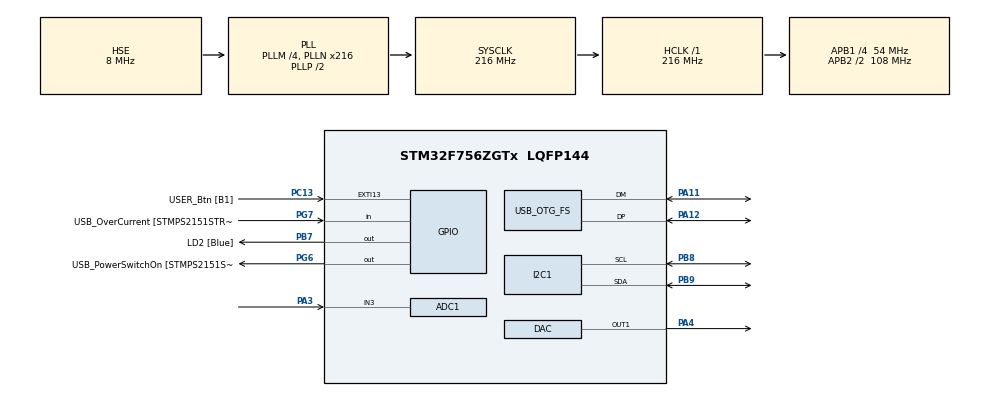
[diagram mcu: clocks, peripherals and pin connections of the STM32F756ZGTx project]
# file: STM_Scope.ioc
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ADC1.Channel-0\#ChannelRegularConversion=ADC_CHANNEL_3
ADC1.ClockPrescaler=ADC_CLOCK_SYNC_PCLK_DIV8
ADC1.ContinuousConvMode=DISABLE
ADC1.DMAContinuousRequests=ENABLE
ADC1.DataAlign=ADC_DATAALIGN_RIGHT
ADC1.ExternalTrigConv=ADC_EXTERNALTRIGCONV_T1_TRGO
ADC1.InjNumberOfConversion=0
ADC1.NbrOfConversion=1
ADC1.NbrOfConversionFlag=1
ADC1.Rank-0\#ChannelRegularConversion=1
ADC1.SamplingTime-0\#ChannelRegularConversion=ADC_SAMPLETIME_480CYCLES
ADC1.ScanConvMode=ADC_SCAN_DISABLE
ADC1.master=1
DAC.DAC_Trigger=DAC_TRIGGER_T6_TRGO
Dma.ADC1.0.Direction=DMA_PERIPH_TO_MEMORY
Dma.ADC1.0.FIFOMode=DMA_FIFOMODE_DISABLE
Dma.ADC1.0.Instance=DMA2_Stream0
Dma.ADC1.0.MemDataAlignment=DMA_MDATAALIGN_HALFWORD
Dma.ADC1.0.MemInc=DMA_MINC_ENABLE
Dma.ADC1.0.Mode=DMA_CIRCULAR
Dma.ADC1.0.PeriphDataAlignment=DMA_PDATAALIGN_HALFWORD
Dma.ADC1.0.PeriphInc=DMA_PINC_DISABLE
Dma.ADC1.0.Priority=DMA_PRIORITY_HIGH
Dma.DAC1.1.Direction=DMA_MEMORY_TO_PERIPH
Dma.DAC1.1.FIFOMode=DMA_FIFOMODE_DISABLE
Dma.DAC1.1.Instance=DMA1_Stream5
Dma.DAC1.1.MemDataAlignment=DMA_MDATAALIGN_HALFWORD
Dma.DAC1.1.MemInc=DMA_MINC_ENABLE
Dma.DAC1.1.Mode=DMA_CIRCULAR
Dma.DAC1.1.PeriphDataAlignment=DMA_PDATAALIGN_HALFWORD
Dma.DAC1.1.PeriphInc=DMA_PINC_DISABLE
Dma.DAC1.1.Priority=DMA_PRIORITY_LOW
Dma.Request0=ADC1
Dma.Request1=DAC1
I2C1.Timing=0x20404768
Mcu.Family=STM32F7
Mcu.Name=STM32F756ZGTx
Mcu.Package=LQFP144
NVIC.DMA1_Stream5_IRQn=true\:0\:0\:false\:false\:true\:false\:true\:true
NVIC.DMA2_Stream0_IRQn=true\:0\:0\:false\:false\:true\:false\:true\:true
NVIC.OTG_FS_IRQn=true\:5\:0\:true\:false\:true\:true\:true\:true
NVIC.PriorityGroup=NVIC_PRIORITYGROUP_4
NVIC.TIM6_DAC_IRQn=true\:6\:0\:true\:false\:true\:true\:true\:true
PA11.Mode=Device_Only
PA11.Signal=USB_OTG_FS_DM
PA12.Mode=Device_Only
PA12.Signal=USB_OTG_FS_DP
PA13.GPIO_Label=TMS
PA13.Mode=Serial_Wire
PA13.Signal=SYS_JTMS-SWDIO
PA14.GPIO_Label=TCK
PA14.Mode=Serial_Wire
PA14.Signal=SYS_JTCK-SWCLK
PA3.Signal=ADCx_IN3
PA4.Signal=COMP_DAC1_group
PB7.GPIO_Label=LD2 [Blue]
PB7.Signal=GPIO_Output
PB8.Mode=I2C
PB8.Signal=I2C1_SCL
PB9.Mode=I2C
PB9.Signal=I2C1_SDA
PC13.GPIO_Label=USER_Btn [B1]
PC13.Signal=GPXTI13
PC14/OSC32_IN.Mode=LSE-External-Oscillator
PC14/OSC32_IN.Signal=RCC_OSC32_IN
PC15/OSC32_OUT.Mode=LSE-External-Oscillator
PC15/OSC32_OUT.Signal=RCC_OSC32_OUT
PG6.GPIO_Label=USB_PowerSwitchOn [STMPS2151STR_EN]
PG6.Signal=GPIO_Output
PG7.GPIO_Label=USB_OverCurrent [STMPS2151STR_FAULT]
PG7.Signal=GPIO_Input
PH0/OSC_IN.GPIO_Label=MCO [STM32F103CBT6_PA8]
PH0/OSC_IN.Mode=HSE-External-Clock-Source
PH0/OSC_IN.Signal=RCC_OSC_IN
PH1/OSC_OUT.Mode=HSE-External-Clock-Source
PH1/OSC_OUT.Signal=RCC_OSC_OUT
ProjectManager.HeapSize=0x200
ProjectManager.StackSize=0x400
ProjectManager.TargetToolchain=STM32CubeIDE
RCC.48MHZClocksFreq_Value=24000000
RCC.AHBFreq_Value=216000000
RCC.APB1CLKDivider=RCC_HCLK_DIV4
RCC.APB1Freq_Value=54000000
RCC.APB1TimFreq_Value=108000000
RCC.APB2CLKDivider=RCC_HCLK_DIV2
RCC.APB2Freq_Value=108000000
RCC.APB2TimFreq_Value=216000000
RCC.CortexFreq_Value=216000000
RCC.HCLKFreq_Value=216000000
RCC.HSE_VALUE=8000000
RCC.HSI_VALUE=16000000
RCC.PLLM=4
RCC.PLLMUL=RCC_PLL_MUL9
RCC.PLLN=216
RCC.PLLQ=9
RCC.PRESCALERUSB=RCC_USBCLKSOURCE_PLL_DIV1_5
RCC.SYSCLKFreq_VALUE=216000000
RCC.SYSCLKSource=RCC_SYSCLKSOURCE_PLLCLK
RCC.SYSCLKSourceVirtual=RCC_SYSCLKSOURCE_PLLCLK
RCC.USBFreq_Value=48000000
RCC.VCOOutputFreq_Value=432000000
SH.ADCx_IN3.0=ADC1_IN3,IN3
SH.COMP_DAC1_group.0=DAC_OUT1,DAC_OUT1
TIM1.Period=19
TIM1.Prescaler=107
TIM1.TIM_MasterOutputTrigger=TIM_TRGO_UPDATE
TIM6.Period=999
TIM6.Prescaler=107
TIM6.TIM_MasterOutputTrigger=TIM_TRGO_UPDATE
USB_DEVICE.APP_RX_DATA_SIZE-CDC_FS=512
USB_DEVICE.APP_TX_DATA_SIZE-CDC_FS=512
USB_DEVICE.CLASS_NAME_FS=CDC
USB_DEVICE.VirtualMode-CDC_FS=Cdc
USB_DEVICE.VirtualModeFS=Cdc_FS
USB_OTG_FS.VirtualMode=Device_Only
VP_TIM1_VS_ClockSourceINT.Mode=Internal
VP_TIM6_VS_ClockSourceINT.Mode=Enable_Timer
VP_USB_DEVICE_VS_USB_DEVICE_CDC_FS.Mode=CDC_FS
board=NUCLEO-F756ZG

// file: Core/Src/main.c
/* USER CODE BEGIN Header */
/**
  ******************************************************************************
  * @file           : main.c
  * @brief          : Main program body
  ******************************************************************************
  * @attention
  *
  * Copyright (c) 2026 STMicroelectronics.
  * All rights reserved.
  *
  * This software is licensed under terms that can be found in the LICENSE file
  * in the root directory of this software component.
  * If no LICENSE file comes with this software, it is provided AS-IS.
  *
  ******************************************************************************
  */
/* USER CODE END Header */
#include "main.h"
#include "usb_device.h"

/* USER CODE BEGIN Includes */
#include <string.h>
#include <stdio.h>
#include <math.h>
/* USER CODE END Includes */

/* USER CODE BEGIN PTD */
typedef struct
{
	uint16_t *lut;
	uint32_t phase_step;
	float scale;
}DDS;

typedef struct
{
	uint32_t buff_size;
	uint32_t freq;
}Measure_cfg;

typedef enum
{
	MODE_SCOPE,
	MODE_TRIGGER
}Measure_mode;
typedef enum
{
	MEAS_IDLE,
	MEAS_RUNNING,
	MEAS_SENDING,
	MEAS_DONE

}Measure_state;
/* USER CODE END PTD */

/* USER CODE BEGIN PM */
#define ADC_BUF_MAX_LEN 4096U
#define SCOPE_BUF_LEN 256U
#define LUT_SIZE 256U
#define DAC_MAX 4095U
#define DAC_F_REF 100000U
#define TIM_CLOCK 108000000U
#define TIM_PRESCALE 107U
/* USER CODE END PM */

ADC_HandleTypeDef hadc1;
DMA_HandleTypeDef hdma_adc1;

DAC_HandleTypeDef hdac;
DMA_HandleTypeDef hdma_dac1;

I2C_HandleTypeDef hi2c1;

TIM_HandleTypeDef htim1;
TIM_HandleTypeDef htim6;

/* USER CODE BEGIN PV */
Measure_mode measure_mode = MODE_SCOPE;
Measure_state measure_state = MEAS_IDLE;

uint16_t adcBuf[ADC_BUF_MAX_LEN];

uint16_t lut_sine[256];
uint16_t lut_tri[256];
uint32_t phase_acc = 0;

DDS dds =
{
	.lut = lut_sine,
	.phase_step = 0,
	.scale = 1
};

Measure_cfg measure_cfg =
{
	.buff_size = 256,
	.freq = 1000
};
uint32_t TxIndex = 0;

volatile uint8_t halfReady = 0;
volatile uint8_t fullReady = 0;
volatile uint8_t usbBusy = 0;
volatile uint8_t configPending = 0;
volatile uint8_t trigger = 0;
volatile uint8_t toTrigger = 0;
volatile uint8_t toScope = 0;
/* USER CODE END PV */

void SystemClock_Config(void);
static void MX_GPIO_Init(void);
static void MX_DMA_Init(void);
static void MX_I2C1_Init(void);
static void MX_ADC1_Init(void);
static void MX_TIM1_Init(void);
static void MX_DAC_Init(void);
static void MX_TIM6_Init(void);
/* USER CODE BEGIN PFP */
uint8_t CDC_Transmit_FS(uint8_t* data, uint16_t len);
void Fill_LUT();
void DDS_GetTuningWord(uint16_t Hz);
void ADC_DMA_SetMode(uint32_t mode);
void CalculateTimArr(uint32_t fs);
void SwitchToScopeMode(void);
void SwitchToTriggerMode(void);
void UpdateConfig(void);
void Trigger_Start(void);
void Trigger_SendData(void);
/* USER CODE END PFP */

int main(void)
{

  /* MCU Configuration--------------------------------------------------------*/

  /* Reset of all peripherals, Initializes the Flash interface and the Systick. */
  HAL_Init();

  /* Configure the system clock */
  SystemClock_Config();

  /* Initialize all configured peripherals */
  MX_GPIO_Init();
  MX_DMA_Init();
  MX_I2C1_Init();
  MX_ADC1_Init();
  MX_TIM1_Init();
  MX_DAC_Init();
  MX_TIM6_Init();
  MX_USB_DEVICE_Init();
  /* USER CODE BEGIN 2 */
  Fill_LUT();
  DDS_GetTuningWord(1000);
  HAL_TIM_Base_Start(&htim1);
  HAL_TIM_Base_Start(&htim6);
  HAL_ADC_Start_DMA(&hadc1,(uint32_t*)adcBuf,SCOPE_BUF_LEN);
  HAL_DAC_Start_DMA(&hdac, DAC_CHANNEL_1, (uint32_t*)lut_sine, 256, DAC_ALIGN_12B_R);
  /* USER CODE END 2 */

  /* Infinite loop */
  /* USER CODE BEGIN WHILE */
  while (1)
  {
	  if(toScope)
	  {
		  if(measure_mode != MODE_SCOPE)
		  {
			  SwitchToScopeMode();
		  }
		  toScope = 0;
	  }
	  if(toTrigger)
	  {
		  if(measure_mode != MODE_TRIGGER)
		  {
			  SwitchToTriggerMode();
		  }

		  toTrigger = 0;
	  }
	  if(configPending)
	  {
		  if(measure_mode == MODE_TRIGGER)
		  {
		  UpdateConfig();
		  }
		  configPending = 0;
	  }
	  if(measure_mode == MODE_SCOPE){

		  if (halfReady && !usbBusy)
		  {
			  if (CDC_Transmit_FS((uint8_t*)&adcBuf[0], (SCOPE_BUF_LEN / 2) * sizeof(uint16_t)) == USBD_OK)
			  {
				  halfReady = 0;
				  usbBusy = 1;
			  }
		  }

		  if (fullReady && !usbBusy)
		  {
			  if (CDC_Transmit_FS((uint8_t*)&adcBuf[SCOPE_BUF_LEN / 2], (SCOPE_BUF_LEN / 2) * sizeof(uint16_t)) == USBD_OK)
			  {
				  fullReady = 0;
				  usbBusy = 1;
			  }
		  }
	  }
	  else
	  {
		  if (trigger)
		      {
		          trigger = 0;
		          Trigger_Start();
		      }

		      if (fullReady)
		      {
		          TxIndex = 0;
		          measure_state = MEAS_SENDING;
		          fullReady = 0;
		      }

		      if (measure_state == MEAS_SENDING)
		      {
		          Trigger_SendData();
		      }
	  }

    /* USER CODE END WHILE */

  }
}

void SystemClock_Config(void)
{
  RCC_OscInitTypeDef RCC_OscInitStruct = {0};
  RCC_ClkInitTypeDef RCC_ClkInitStruct = {0};

  /** Configure LSE Drive Capability
  */
  HAL_PWR_EnableBkUpAccess();

  /** Configure the main internal regulator output voltage
  */
  __HAL_RCC_PWR_CLK_ENABLE();
  __HAL_PWR_VOLTAGESCALING_CONFIG(PWR_REGULATOR_VOLTAGE_SCALE1);

  /** Initializes the RCC Oscillators according to the specified parameters
  * in the RCC_OscInitTypeDef structure.
  */
  RCC_OscInitStruct.OscillatorType = RCC_OSCILLATORTYPE_HSE;
  RCC_OscInitStruct.HSEState = RCC_HSE_BYPASS;
  RCC_OscInitStruct.PLL.PLLState = RCC_PLL_ON;
  RCC_OscInitStruct.PLL.PLLSource = RCC_PLLSOURCE_HSE;
  RCC_OscInitStruct.PLL.PLLM = 4;
  RCC_OscInitStruct.PLL.PLLN = 216;
  RCC_OscInitStruct.PLL.PLLP = RCC_PLLP_DIV2;
  RCC_OscInitStruct.PLL.PLLQ = 9;
  if (HAL_RCC_OscConfig(&RCC_OscInitStruct) != HAL_OK)
  {
    Error_Handler();
  }

  /** Activate the Over-Drive mode
  */
  if (HAL_PWREx_EnableOverDrive() != HAL_OK)
  {
    Error_Handler();
  }

  /** Initializes the CPU, AHB and APB buses clocks
  */
  RCC_ClkInitStruct.ClockType = RCC_CLOCKTYPE_HCLK|RCC_CLOCKTYPE_SYSCLK
                              |RCC_CLOCKTYPE_PCLK1|RCC_CLOCKTYPE_PCLK2;
  RCC_ClkInitStruct.SYSCLKSource = RCC_SYSCLKSOURCE_PLLCLK;
  RCC_ClkInitStruct.AHBCLKDivider = RCC_SYSCLK_DIV1;
  RCC_ClkInitStruct.APB1CLKDivider = RCC_HCLK_DIV4;
  RCC_ClkInitStruct.APB2CLKDivider = RCC_HCLK_DIV2;

  if (HAL_RCC_ClockConfig(&RCC_ClkInitStruct, FLASH_LATENCY_7) != HAL_OK)
  {
    Error_Handler();
  }
}

static void MX_ADC1_Init(void)
{

  ADC_ChannelConfTypeDef sConfig = {0};

  /** Configure the global features of the ADC (Clock, Resolution, Data Alignment and number of conversion)
  */
  hadc1.Instance = ADC1;
  hadc1.Init.ClockPrescaler = ADC_CLOCK_SYNC_PCLK_DIV8;
  hadc1.Init.Resolution = ADC_RESOLUTION_12B;
  hadc1.Init.ScanConvMode = ADC_SCAN_DISABLE;
  hadc1.Init.ContinuousConvMode = DISABLE;
  hadc1.Init.DiscontinuousConvMode = DISABLE;
  hadc1.Init.ExternalTrigConvEdge = ADC_EXTERNALTRIGCONVEDGE_RISING;
  hadc1.Init.ExternalTrigConv = ADC_EXTERNALTRIGCONV_T1_TRGO;
  hadc1.Init.DataAlign = ADC_DATAALIGN_RIGHT;
  hadc1.Init.NbrOfConversion = 1;
  hadc1.Init.DMAContinuousRequests = ENABLE;
  hadc1.Init.EOCSelection = ADC_EOC_SINGLE_CONV;
  if (HAL_ADC_Init(&hadc1) != HAL_OK)
  {
    Error_Handler();
  }

  /** Configure for the selected ADC regular channel its corresponding rank in the sequencer and its sample time.
  */
  sConfig.Channel = ADC_CHANNEL_3;
  sConfig.Rank = ADC_REGULAR_RANK_1;
  sConfig.SamplingTime = ADC_SAMPLETIME_480CYCLES;
  if (HAL_ADC_ConfigChannel(&hadc1, &sConfig) != HAL_OK)
  {
    Error_Handler();
  }

}

static void MX_DAC_Init(void)
{

  DAC_ChannelConfTypeDef sConfig = {0};

  /** DAC Initialization
  */
  hdac.Instance = DAC;
  if (HAL_DAC_Init(&hdac) != HAL_OK)
  {
    Error_Handler();
  }

  /** DAC channel OUT1 config
  */
  sConfig.DAC_Trigger = DAC_TRIGGER_T6_TRGO;
  sConfig.DAC_OutputBuffer = DAC_OUTPUTBUFFER_ENABLE;
  if (HAL_DAC_ConfigChannel(&hdac, &sConfig, DAC_CHANNEL_1) != HAL_OK)
  {
    Error_Handler();
  }

}

static void MX_I2C1_Init(void)
{

  hi2c1.Instance = I2C1;
  hi2c1.Init.Timing = 0x20404768;
  hi2c1.Init.OwnAddress1 = 0;
  hi2c1.Init.AddressingMode = I2C_ADDRESSINGMODE_7BIT;
  hi2c1.Init.DualAddressMode = I2C_DUALADDRESS_DISABLE;
  hi2c1.Init.OwnAddress2 = 0;
  hi2c1.Init.OwnAddress2Masks = I2C_OA2_NOMASK;
  hi2c1.Init.GeneralCallMode = I2C_GENERALCALL_DISABLE;
  hi2c1.Init.NoStretchMode = I2C_NOSTRETCH_DISABLE;
  if (HAL_I2C_Init(&hi2c1) != HAL_OK)
  {
    Error_Handler();
  }

  /** Configure Analogue filter
  */
  if (HAL_I2CEx_ConfigAnalogFilter(&hi2c1, I2C_ANALOGFILTER_ENABLE) != HAL_OK)
  {
    Error_Handler();
  }

  /** Configure Digital filter
  */
  if (HAL_I2CEx_ConfigDigitalFilter(&hi2c1, 0) != HAL_OK)
  {
    Error_Handler();
  }

}

static void MX_TIM1_Init(void)
{

  TIM_ClockConfigTypeDef sClockSourceConfig = {0};
  TIM_MasterConfigTypeDef sMasterConfig = {0};

  htim1.Instance = TIM1;
  htim1.Init.Prescaler = 107;
  htim1.Init.CounterMode = TIM_COUNTERMODE_UP;
  htim1.Init.Period = 19;
  htim1.Init.ClockDivision = TIM_CLOCKDIVISION_DIV1;
  htim1.Init.RepetitionCounter = 0;
  htim1.Init.AutoReloadPreload = TIM_AUTORELOAD_PRELOAD_DISABLE;
  if (HAL_TIM_Base_Init(&htim1) != HAL_OK)
  {
    Error_Handler();
  }
  sClockSourceConfig.ClockSource = TIM_CLOCKSOURCE_INTERNAL;
  if (HAL_TIM_ConfigClockSource(&htim1, &sClockSourceConfig) != HAL_OK)
  {
    Error_Handler();
  }
  sMasterConfig.MasterOutputTrigger = TIM_TRGO_UPDATE;
  sMasterConfig.MasterOutputTrigger2 = TIM_TRGO2_RESET;
  sMasterConfig.MasterSlaveMode = TIM_MASTERSLAVEMODE_DISABLE;
  if (HAL_TIMEx_MasterConfigSynchronization(&htim1, &sMasterConfig) != HAL_OK)
  {
    Error_Handler();
  }

}

static void MX_TIM6_Init(void)
{

  TIM_MasterConfigTypeDef sMasterConfig = {0};

  htim6.Instance = TIM6;
  htim6.Init.Prescaler = 107;
  htim6.Init.CounterMode = TIM_COUNTERMODE_UP;
  htim6.Init.Period = 999;
  htim6.Init.AutoReloadPreload = TIM_AUTORELOAD_PRELOAD_DISABLE;
  if (HAL_TIM_Base_Init(&htim6) != HAL_OK)
  {
    Error_Handler();
  }
  sMasterConfig.MasterOutputTrigger = TIM_TRGO_UPDATE;
  sMasterConfig.MasterSlaveMode = TIM_MASTERSLAVEMODE_DISABLE;
  if (HAL_TIMEx_MasterConfigSynchronization(&htim6, &sMasterConfig) != HAL_OK)
  {
    Error_Handler();
  }

}

static void MX_DMA_Init(void)
{

  /* DMA controller clock enable */
  __HAL_RCC_DMA2_CLK_ENABLE();
  __HAL_RCC_DMA1_CLK_ENABLE();

  /* DMA interrupt init */
  /* DMA1_Stream5_IRQn interrupt configuration */
  HAL_NVIC_SetPriority(DMA1_Stream5_IRQn, 0, 0);
  HAL_NVIC_EnableIRQ(DMA1_Stream5_IRQn);
  /* DMA2_Stream0_IRQn interrupt configuration */
  HAL_NVIC_SetPriority(DMA2_Stream0_IRQn, 0, 0);
  HAL_NVIC_EnableIRQ(DMA2_Stream0_IRQn);

}

static void MX_GPIO_Init(void)
{
  GPIO_InitTypeDef GPIO_InitStruct = {0};

  /* GPIO Ports Clock Enable */
  __HAL_RCC_GPIOC_CLK_ENABLE();
  __HAL_RCC_GPIOH_CLK_ENABLE();
  __HAL_RCC_GPIOA_CLK_ENABLE();
  __HAL_RCC_GPIOG_CLK_ENABLE();
  __HAL_RCC_GPIOB_CLK_ENABLE();

  /*Configure GPIO pin Output Level */
  HAL_GPIO_WritePin(USB_PowerSwitchOn_GPIO_Port, USB_PowerSwitchOn_Pin, GPIO_PIN_RESET);

  /*Configure GPIO pin Output Level */
  HAL_GPIO_WritePin(LD2_GPIO_Port, LD2_Pin, GPIO_PIN_RESET);

  /*Configure GPIO pin : USER_Btn_Pin */
  GPIO_InitStruct.Pin = USER_Btn_Pin;
  GPIO_InitStruct.Mode = GPIO_MODE_IT_RISING;
  GPIO_InitStruct.Pull = GPIO_NOPULL;
  HAL_GPIO_Init(USER_Btn_GPIO_Port, &GPIO_InitStruct);

  /*Configure GPIO pin : USB_PowerSwitchOn_Pin */
  GPIO_InitStruct.Pin = USB_PowerSwitchOn_Pin;
  GPIO_InitStruct.Mode = GPIO_MODE_OUTPUT_PP;
  GPIO_InitStruct.Pull = GPIO_NOPULL;
  GPIO_InitStruct.Speed = GPIO_SPEED_FREQ_LOW;
  HAL_GPIO_Init(USB_PowerSwitchOn_GPIO_Port, &GPIO_InitStruct);

  /*Configure GPIO pin : USB_OverCurrent_Pin */
  GPIO_InitStruct.Pin = USB_OverCurrent_Pin;
  GPIO_InitStruct.Mode = GPIO_MODE_INPUT;
  GPIO_InitStruct.Pull = GPIO_NOPULL;
  HAL_GPIO_Init(USB_OverCurrent_GPIO_Port, &GPIO_InitStruct);

  /*Configure GPIO pin : LD2_Pin */
  GPIO_InitStruct.Pin = LD2_Pin;
  GPIO_InitStruct.Mode = GPIO_MODE_OUTPUT_PP;
  GPIO_InitStruct.Pull = GPIO_NOPULL;
  GPIO_InitStruct.Speed = GPIO_SPEED_FREQ_LOW;
  HAL_GPIO_Init(LD2_GPIO_Port, &GPIO_InitStruct);

}

/* USER CODE BEGIN 4 */
	uint16_t DDS_GetSample(DDS *dds)
	{
		phase_acc += dds->phase_step;
		uint8_t index = phase_acc >> 24;
		float sample = (float)dds->lut[index];
		sample = 2047.5f +(sample - 2047.5f) * dds->scale;
		return (uint16_t)sample;
	}

	void DDS_GetTuningWord(uint16_t Hz)
	{
		if(Hz>DAC_F_REF/2)
		{
			dds.phase_step = 0;
		}
		uint64_t m = (Hz * (float)UINT32_MAX) / DAC_F_REF;
		dds.phase_step = (uint32_t)m;
	}

	void Fill_LUT()
	{
	    for (uint16_t i = 0; i < LUT_SIZE; i++) {
	        float phase = (float) i / LUT_SIZE;

	        lut_sine[i] = (uint16_t)((DAC_MAX / 2.0f) + (DAC_MAX / 2.0f) * sinf(2.0f * M_PI * phase));

	        if (phase < 0.5f) {
	            lut_tri[i] = (uint16_t)(2.0f * phase * DAC_MAX);
	        }
	        else
	        {
	            lut_tri[i] = (uint16_t)(2.0f * (1.0f-phase) * DAC_MAX);
	        }
	    }
	}
	void ADC_DMA_SetMode(uint32_t mode)
	{
	    HAL_DMA_DeInit(&hdma_adc1);
	    hdma_adc1.Init.Mode = mode;
	    if (HAL_DMA_Init(&hdma_adc1) != HAL_OK)
	    {
	        Error_Handler();
	    }
	}

	void SwitchToTriggerMode(void)
	{
	    HAL_TIM_Base_Stop(&htim1);
	    HAL_ADC_Stop_DMA(&hadc1);
	    ADC_DMA_SetMode(DMA_NORMAL);
	    CalculateTimArr(measure_cfg.freq);
	    HAL_ADC_Start_DMA(&hadc1,(uint32_t *)adcBuf,measure_cfg.buff_size);
	    fullReady = 0;
	    measure_mode = MODE_TRIGGER;
	    measure_state = MEAS_IDLE;
	}
	void SwitchToScopeMode(void)
	{
	    HAL_TIM_Base_Stop(&htim1);
	    HAL_ADC_Stop_DMA(&hadc1);
	    ADC_DMA_SetMode(DMA_CIRCULAR);
	    __HAL_TIM_SET_AUTORELOAD(&htim1, 19);
		__HAL_TIM_SET_COUNTER(&htim1, 0);
	    halfReady = 0;
	    fullReady = 0;
	    HAL_ADC_Start_DMA(&hadc1,(uint32_t *)adcBuf,SCOPE_BUF_LEN);
	    HAL_TIM_Base_Start(&htim1);
	    measure_mode = MODE_SCOPE;
	}
	void CalculateTimArr(uint32_t fs){
		 uint32_t arr = TIM_CLOCK / ((TIM_PRESCALE + 1U) * fs) - 1U;
		 __HAL_TIM_SET_AUTORELOAD(&htim1, arr);
		 __HAL_TIM_SET_COUNTER(&htim1, 0);
	}
	void UpdateConfig(void)
	{
		 HAL_TIM_Base_Stop(&htim1);
		 HAL_ADC_Stop_DMA(&hadc1);
		 CalculateTimArr(measure_cfg.freq);
		 measure_state = MEAS_IDLE;
	}

	void Trigger_Start(void)
	{
	    if (measure_state == MEAS_IDLE)
	    {
	        __HAL_TIM_SET_COUNTER(&htim1, 0);
	        HAL_ADC_Start_DMA(&hadc1,(uint32_t *)adcBuf,measure_cfg.buff_size);
	        measure_state = MEAS_RUNNING;

	        HAL_TIM_Base_Start(&htim1);
	    }
	}

	void Trigger_SendData(void)
	{
	    if (usbBusy)
	        return;

	    uint32_t totalBytes = measure_cfg.buff_size * sizeof(uint16_t);

	    if (TxIndex < totalBytes)
	    {
	        uint32_t remaining = totalBytes - TxIndex;
	        uint16_t chunkSize = (remaining > SCOPE_BUF_LEN) ? SCOPE_BUF_LEN : remaining;
	        uint8_t *data = (uint8_t *)adcBuf;

	        if (CDC_Transmit_FS(&data[TxIndex],chunkSize) == USBD_OK)
	        {
	            usbBusy = 1;
	            TxIndex += chunkSize;
	        }
	    }
	    else
	    {
	        measure_state = MEAS_IDLE;
	        TxIndex = 0;
	    }
	}

   void HAL_ADC_ConvHalfCpltCallback(ADC_HandleTypeDef* hadc)
   {
       if(hadc->Instance == ADC1)
       {
           halfReady = 1;
       }
   }

   void HAL_ADC_ConvCpltCallback(ADC_HandleTypeDef* hadc)
   {
       if(hadc->Instance == ADC1)
       {
    	   if(measure_mode == MODE_TRIGGER)
    	   {
    		   HAL_TIM_Base_Stop(&htim1);
    		   HAL_ADC_Stop_DMA(&hadc1);
    	   }
           fullReady = 1;
       }
   }

/* USER CODE END 4 */

void Error_Handler(void)
{
  __disable_irq();
  while (1)
  {
  }
}
